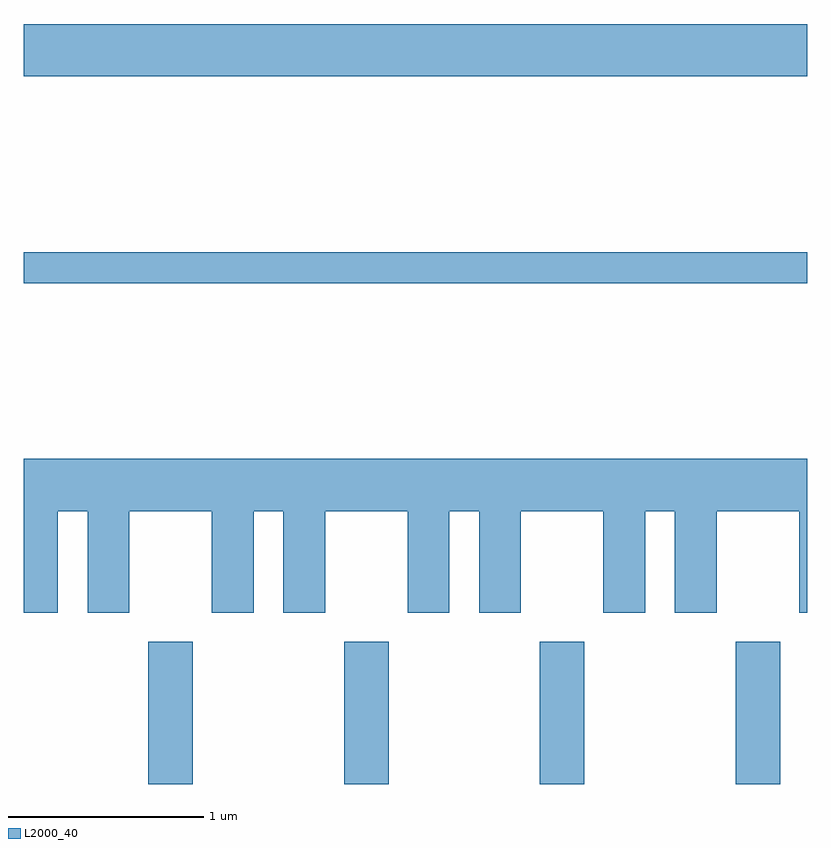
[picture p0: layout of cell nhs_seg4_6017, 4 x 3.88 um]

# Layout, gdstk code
import gdstk
lib = gdstk.Library(unit=1e-6, precision=1e-09)
def R(c, l, rs):  # rectangles x0, y0, x1, y1
    for r in rs: c.add(gdstk.rectangle(r[:2], r[2:], *l))
def A(c, l, x, y, w, h, nx, ny, dx, dy):  # array of equal rectangles
    R(c, l, [(x+i*dx, y+j*dy, x+i*dx+w, y+j*dy+h) for i in range(nx) for j in range(ny)])
def P(c, l, *ps):  # polygons
    for p in ps: c.add(gdstk.Polygon(p, *l))
L2000_40 = (2000, 40)

nhs_seg4_6017 = lib.new_cell('nhs_seg4_6017')
A(nhs_seg4_6017, L2000_40, 362.246, 1319.982, 0.228, 0.727, 4, 1, 1, 0)
R(nhs_seg4_6017, L2000_40, [(361.611,1322.541,365.611,1322.699), (361.611,1323.596,365.611,1323.864)])
P(nhs_seg4_6017, L2000_40, [(361.784,1321.376),(361.936,1321.376),(361.936,1320.856),(362.149,1320.856),(362.149,1321.376),(362.571,1321.376),(362.571,1320.856),(362.784,1320.856),(362.784,1321.376),(362.936,1321.376),(362.936,1320.856),(363.149,1320.856),(363.149,1321.376),(363.571,1321.376),(363.571,1320.856),(363.784,1320.856),(363.784,1321.376),(363.936,1321.376),(363.936,1320.856),(364.149,1320.856),(364.149,1321.376),(364.571,1321.376),(364.571,1320.856),(364.784,1320.856),(364.784,1321.376),(364.936,1321.376),(364.936,1320.856),(365.149,1320.856),(365.149,1321.376),(365.571,1321.376),(365.571,1320.856),(365.611,1320.856),(365.611,1321.644),(361.611,1321.644),(361.611,1320.856),(361.784,1320.856)])

lib.write_gds('nhs_seg4_6017.gds')
